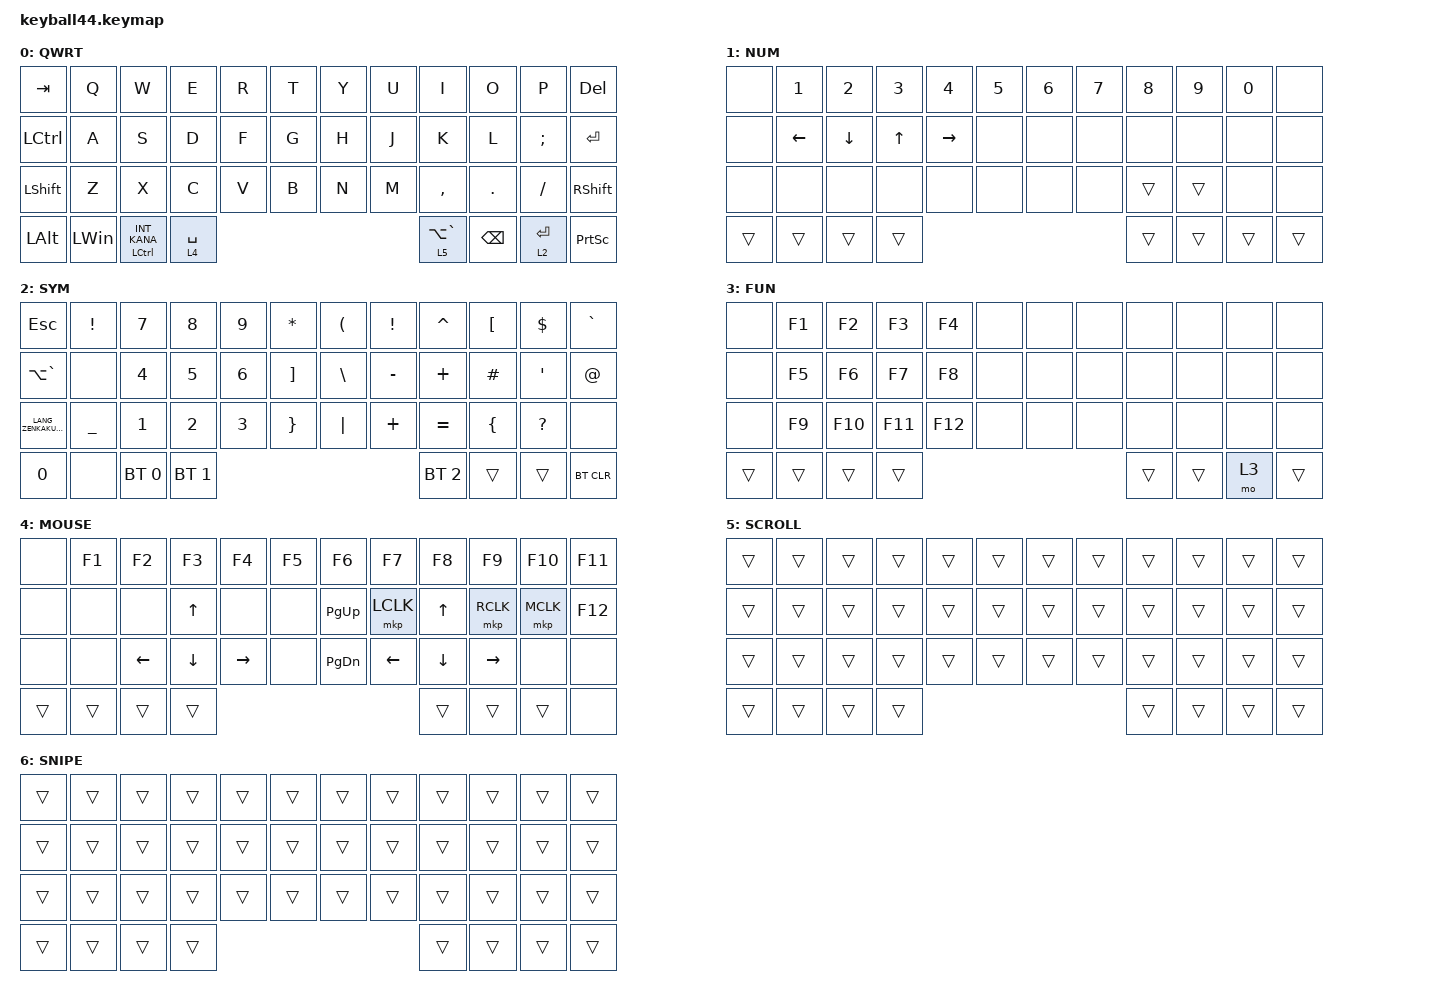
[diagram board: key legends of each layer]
#define DEFAULT 0
#define NUM     1
#define SYM     2
#define FUN     3
#define MOUSE   4
#define SCROLL  5
#define SNIPE   6

#include <behaviors/mouse_keys.dtsi>
#include <behaviors.dtsi>
#include <dt-bindings/zmk/bt.h>
#include <dt-bindings/zmk/keys.h>
#include <dt-bindings/zmk/mouse.h>

&lt {
    tapping-term-ms = <240>;
    flavor = "balanced";
    quick-tap-ms = <150>;
};

&mt {
    tapping-term-ms = <200>;
    flavor = "tap-preferred";
    quick-tap-ms = <150>;
};

&caps_word { continue-list = <UNDERSCORE MINUS>; };

/ {
    // custom shift using mod-morph 

    behaviors {
        cmqus: comma_question {
            compatible = "zmk,behavior-mod-morph";
            label = "COMMA_QUESTION";
            #binding-cells = <0>;
            bindings = <&kp COMMA>, <&kp QUESTION>;

            mods = <(MOD_LSFT|MOD_RSFT)>;
        };

        dtsmi: dot_semi {
            compatible = "zmk,behavior-mod-morph";
            label = "DOT_SEMI";
            #binding-cells = <0>;
            bindings = <&kp DOT>, <&kp SEMI>;

            mods = <(MOD_LSFT|MOD_RSFT)>;
        };
    };

    keymap {
        compatible = "zmk,keymap";

        default_layer {
            label = "QWRT";
            bindings = <
&kp TAB         &kp Q         &kp W                      &kp E        &kp R            &kp T                     &kp Y        &kp U  &kp I      &kp O    &kp P      &kp DELETE
&kp LCTRL       &kp A         &kp S                      &kp D        &kp F            &kp G                     &kp H        &kp J  &kp K      &kp L    &kp SEMI   &kp ENTER
&kp LEFT_SHIFT  &kp Z         &kp X                      &kp C        &kp V            &kp B                     &kp N        &kp M  &kp COMMA  &kp DOT  &kp SLASH  &kp RIGHT_SHIFT
&kp LEFT_ALT    &kp LEFT_WIN  &mt LEFT_CONTROL INT_KANA  &lt 4 SPACE  &lt 5 LA(GRAVE)             &kp BACKSPACE  &lt 2 ENTER                                        &kp PRINTSCREEN
            >;
        };

        number_layer {
            label = "NUM";
            bindings = <
&none   &kp NUMBER_1  &kp NUMBER_2  &kp NUMBER_3  &kp NUMBER_4  &kp NUMBER_5              &kp NUMBER_6  &kp NUMBER_7  &kp NUMBER_8  &kp NUMBER_9  &kp NUMBER_0  &none
&none   &kp LEFT      &kp DOWN      &kp UP_ARROW  &kp RIGHT     &none                     &none         &none         &none         &none         &none         &none
&none   &none         &none         &none         &none         &none                     &none         &none         &trans        &trans        &none         &none
&trans  &trans        &trans        &trans        &trans                          &trans  &trans                                                                &trans
            >;
        };

        symbol_layer {
            label = "SYM";
            bindings = <
&kp ESCAPE               &kp EXCLAMATION  &kp NUMBER_7  &kp NUMBER_8  &kp NUMBER_9  &kp ASTERISK                   &kp LEFT_PARENTHESIS  &kp EXCLAMATION  &kp CARET  &kp LEFT_BRACKET  &kp DOLLAR    &kp GRAVE
&kp LA(GRAVE)            &none            &kp NUMBER_4  &kp NUMBER_5  &kp NUMBER_6  &kp RIGHT_BRACKET              &kp BACKSLASH         &kp MINUS        &kp PLUS   &kp HASH          &kp SQT       &kp AT_SIGN
&kp LANG_ZENKAKUHANKAKU  &kp UNDERSCORE   &kp NUMBER_1  &kp NUMBER_2  &kp NUMBER_3  &kp RIGHT_BRACE                &kp PIPE              &kp PLUS         &kp EQUAL  &kp LEFT_BRACE    &kp QUESTION  &none
&kp NUMBER_0             &none            &bt BT_SEL 0  &bt BT_SEL 1  &bt BT_SEL 2                         &trans  &trans                                                                            &bt BT_CLR
            >;
        };

        function_layer {
            label = "FUN";
            bindings = <
&none   &kp F1  &kp F2   &kp F3   &kp F4   &none              &none  &none  &none  &none  &none  &none
&none   &kp F5  &kp F6   &kp F7   &kp F8   &none              &none  &none  &none  &none  &none  &none
&none   &kp F9  &kp F10  &kp F11  &kp F12  &none              &none  &none  &none  &none  &none  &none
&trans  &trans  &trans   &trans   &trans              &trans  &mo 3                              &trans
            >;
        };

        mouse_layer {
            label = "MOUSE";
            bindings = <
&none   &kp F1  &kp F2    &kp F3          &kp F4     &kp F5              &kp F6         &kp F7          &kp F8          &kp F9     &kp F10    &kp F11
&none   &none   &none     &kp UP_ARROW    &none      &none               &kp PAGE_UP    &mkp LCLK       &kp UP_ARROW    &mkp RCLK  &mkp MCLK  &kp F12
&none   &none   &kp LEFT  &kp DOWN_ARROW  &kp RIGHT  &none               &kp PAGE_DOWN  &kp LEFT_ARROW  &kp DOWN_ARROW  &kp RIGHT  &none      &none
&trans  &trans  &trans    &trans          &trans                 &trans  &trans                                                               &none
            >;
        };

        scroll_layer {
            label = "SCROLL";
            bindings = <
&trans  &trans  &trans  &trans  &trans  &trans              &trans  &trans  &trans  &trans  &trans  &trans
&trans  &trans  &trans  &trans  &trans  &trans              &trans  &trans  &trans  &trans  &trans  &trans
&trans  &trans  &trans  &trans  &trans  &trans              &trans  &trans  &trans  &trans  &trans  &trans
&trans  &trans  &trans  &trans  &trans              &trans  &trans                                  &trans
            >;
        };

        snipe_layer {
            label = "SNIPE";
            bindings = <
&trans  &trans  &trans  &trans  &trans  &trans              &trans  &trans  &trans  &trans  &trans  &trans
&trans  &trans  &trans  &trans  &trans  &trans              &trans  &trans  &trans  &trans  &trans  &trans
&trans  &trans  &trans  &trans  &trans  &trans              &trans  &trans  &trans  &trans  &trans  &trans
&trans  &trans  &trans  &trans  &trans              &trans  &trans                                  &trans
            >;
        };
    };
};
